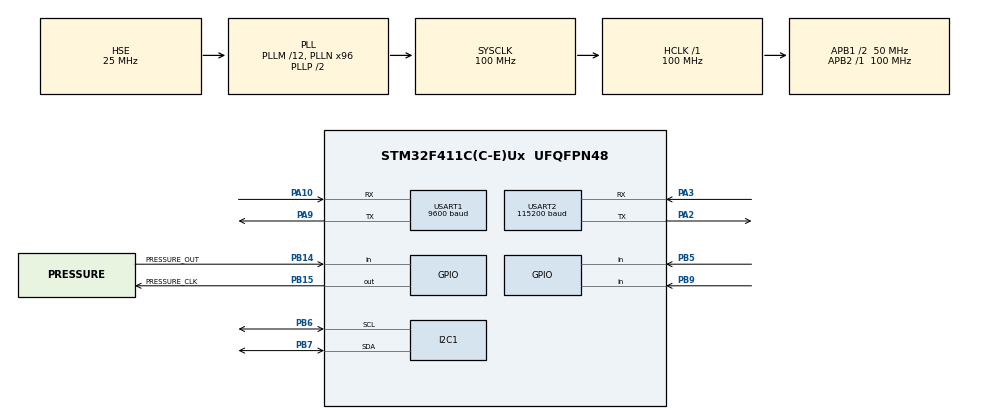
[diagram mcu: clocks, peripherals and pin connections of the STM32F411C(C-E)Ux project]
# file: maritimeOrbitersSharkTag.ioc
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I2C1.I2C_Mode=I2C_Fast
Mcu.Family=STM32F4
Mcu.Name=STM32F411C(C-E)Ux
Mcu.Package=UFQFPN48
NVIC.PriorityGroup=NVIC_PRIORITYGROUP_4
NVIC.USART1_IRQn=true\:0\:0\:false\:false\:true\:true\:true\:true
NVIC.USART2_IRQn=true\:0\:0\:false\:false\:true\:true\:true\:true
PA10.Mode=Asynchronous
PA10.Signal=USART1_RX
PA2.Mode=Asynchronous
PA2.Signal=USART2_TX
PA3.Mode=Asynchronous
PA3.Signal=USART2_RX
PA9.Mode=Asynchronous
PA9.Signal=USART1_TX
PB14.GPIO_Label=PRESSURE_OUT
PB14.Signal=GPIO_Input
PB15.GPIO_Label=PRESSURE_CLK
PB15.Signal=GPIO_Output
PB5.Signal=GPIO_Input
PB6.Mode=I2C
PB6.Signal=I2C1_SCL
PB7.Mode=I2C
PB7.Signal=I2C1_SDA
PB9.GPIO_PuPd=GPIO_PULLUP
PB9.Signal=GPIO_Input
PH0\ -\ OSC_IN.Mode=HSE-External-Oscillator
PH0\ -\ OSC_IN.Signal=RCC_OSC_IN
PH1\ -\ OSC_OUT.Mode=HSE-External-Oscillator
PH1\ -\ OSC_OUT.Signal=RCC_OSC_OUT
ProjectManager.HeapSize=0x800
ProjectManager.StackSize=0x800
ProjectManager.TargetToolchain=STM32CubeIDE
RCC.48MHZClocksFreq_Value=50000000
RCC.AHBFreq_Value=100000000
RCC.APB1CLKDivider=RCC_HCLK_DIV2
RCC.APB1Freq_Value=50000000
RCC.APB1TimFreq_Value=100000000
RCC.APB2Freq_Value=100000000
RCC.APB2TimFreq_Value=100000000
RCC.CortexFreq_Value=100000000
RCC.HCLKFreq_Value=100000000
RCC.HSE_VALUE=25000000
RCC.HSI_VALUE=16000000
RCC.LSE_VALUE=32768
RCC.PLLM=12
RCC.PLLN=96
RCC.PLLSourceVirtual=RCC_PLLSOURCE_HSE
RCC.SYSCLKFreq_VALUE=100000000
RCC.SYSCLKSource=RCC_SYSCLKSOURCE_PLLCLK
RCC.VCOOutputFreq_Value=200000000
STMicroelectronics.X-CUBE-AI.10.1.0.HeapSize=0x800
STMicroelectronics.X-CUBE-AI.10.1.0.ModelActualCompression-4481c84f3229c3ce8bc56b6763ea395dbdbbe3bd86c1d7961588b692ccb25df8=0.0
STMicroelectronics.X-CUBE-AI.10.1.0.ModelCompression-4481c84f3229c3ce8bc56b6763ea395dbdbbe3bd86c1d7961588b692ccb25df8=None
STMicroelectronics.X-CUBE-AI.10.1.0.ModelFlashOccupation-4481c84f3229c3ce8bc56b6763ea395dbdbbe3bd86c1d7961588b692ccb25df8=0
STMicroelectronics.X-CUBE-AI.10.1.0.ModelHashList=4481c84f3229c3ce8bc56b6763ea395dbdbbe3bd86c1d7961588b692ccb25df8
STMicroelectronics.X-CUBE-AI.10.1.0.ModelKind-4481c84f3229c3ce8bc56b6763ea395dbdbbe3bd86c1d7961588b692ccb25df8=KERAS
STMicroelectronics.X-CUBE-AI.10.1.0.ModelMacc-4481c84f3229c3ce8bc56b6763ea395dbdbbe3bd86c1d7961588b692ccb25df8=0
STMicroelectronics.X-CUBE-AI.10.1.0.ModelName-4481c84f3229c3ce8bc56b6763ea395dbdbbe3bd86c1d7961588b692ccb25df8=is_shark_eating
STMicroelectronics.X-CUBE-AI.10.1.0.ModelNameList=is_shark_eating
STMicroelectronics.X-CUBE-AI.10.1.0.ModelRamOccupation-4481c84f3229c3ce8bc56b6763ea395dbdbbe3bd86c1d7961588b692ccb25df8=0
STMicroelectronics.X-CUBE-AI.10.1.0.ModelType-4481c84f3229c3ce8bc56b6763ea395dbdbbe3bd86c1d7961588b692ccb25df8=STM32Cube.AI MCU runtime
STMicroelectronics.X-CUBE-AI.10.1.0.ReadyForCodeGeneration=false
STMicroelectronics.X-CUBE-AI.10.1.0.StackSize=0x800
STMicroelectronics.X-CUBE-AI.10.1.0.WorkingBufferStartAddrList=0xFFFFFFFF
STMicroelectronics.X-CUBE-AI.10.1.0.copyWeightToRam-4481c84f3229c3ce8bc56b6763ea395dbdbbe3bd86c1d7961588b692ccb25df8=false
STMicroelectronics.X-CUBE-AI.10.1.0.customLayerConfigEnabled-4481c84f3229c3ce8bc56b6763ea395dbdbbe3bd86c1d7961588b692ccb25df8=false
STMicroelectronics.X-CUBE-AI.10.1.0.noOnnxIoTranspose-4481c84f3229c3ce8bc56b6763ea395dbdbbe3bd86c1d7961588b692ccb25df8=false
STMicroelectronics.X-CUBE-AI.10.1.0.useInputAllocation-4481c84f3229c3ce8bc56b6763ea395dbdbbe3bd86c1d7961588b692ccb25df8=true
STMicroelectronics.X-CUBE-AI.10.1.0.useOutputAllocation-4481c84f3229c3ce8bc56b6763ea395dbdbbe3bd86c1d7961588b692ccb25df8=true
TIM10.Period=0xffff-1
TIM10.Prescaler=100-1
USART1.BaudRate=9600
USART1.VirtualMode=VM_ASYNC
USART2.BaudRate=115200
USART2.VirtualMode=VM_ASYNC
VP_TIM10_VS_ClockSourceINT.Mode=Enable_Timer
board=custom

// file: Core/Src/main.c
/* USER CODE BEGIN Header */
/**
  ******************************************************************************
  * @file           : main.c
  * @brief          : Main program body
  ******************************************************************************
  * @attention
  *
  * Copyright (c) 2025 STMicroelectronics.
  * All rights reserved.
  *
  * This software is licensed under terms that can be found in the LICENSE file
  * in the root directory of this software component.
  * If no LICENSE file comes with this software, it is provided AS-IS.
  *
  ******************************************************************************
  */
/* USER CODE END Header */
#include "main.h"
#include "i2c.h"
#include "tim.h"
#include "usart.h"
#include "gpio.h"

/* USER CODE BEGIN PV */
SIM800_t SIM800;
HX710B_Cfg HX710B = {.dout_pin = PRESSURE_OUT_Pin, .dout_port = PRESSURE_OUT_GPIO_Port,
					.sck_pin = PRESSURE_CLK_Pin, .sck_port = PRESSURE_CLK_GPIO_Port};
float temp_value = 0;
float depth;
/* USER CODE END PV */

void SystemClock_Config(void);

/* USER CODE BEGIN 0 */
int _close(int file) { return -1; }
int _fstat(int file, void *st) { return 0; }
int _isatty(int file) { return 1; }
int _lseek(int file, int ptr, int dir) { return 0; }
int _read(int file, char *ptr, int len) { return 0; }
int _kill(int pid, int sig) { return -1; }
int _getpid(void) { return 1; }

int _write(int file, uint8_t* p, int len)
{
	if(HAL_UART_Transmit(&huart2, p, len, len) == HAL_OK )
	{
		return len;
	}
	return 0;
}
void HAL_UART_RxCpltCallback(UART_HandleTypeDef *huart)
{
    if (huart == UART_SIM800) {
        Sim800_RxCallBack();
    }
	if(huart == &huart1) {
		GPS_UART_CallBack();
	}
}

/* USER CODE END 0 */

int main(void)
{

  /* MCU Configuration--------------------------------------------------------*/

  /* Reset of all peripherals, Initializes the Flash interface and the Systick. */
  HAL_Init();

  /* USER CODE BEGIN Init */
  SIM800.sim.apn = APN;								// For WE Egypt apn is "internet"
  SIM800.sim.apn_user = APN_KEY;
  SIM800.sim.apn_pass = APN_PASS;
  SIM800.mqttServer.host = MQTT_HOST;
  SIM800.mqttServer.port = MQTT_PORT;
  SIM800.mqttClient.username = MQTT_USERNAME;
  SIM800.mqttClient.pass = MQTT_PASS;
  SIM800.mqttClient.clientID = MQTT_CLIENT_ID;
  SIM800.mqttClient.keepAliveInterval = MQTT_KEEP_ALIVE;
  MQTT_Init();
  /* USER CODE END Init */

  /* Configure the system clock */
  SystemClock_Config();

  /* Initialize all configured peripherals */
  MX_GPIO_Init();
  MX_USART2_UART_Init();
  MX_TIM10_Init();
  MX_I2C1_Init();
  MX_USART1_UART_Init();
  /* USER CODE BEGIN 2 */
  HX710B_Init(&HX710B);
  HX710B_CalibrateZero(&HX710B);
  HX710B_SetScale(&HX710B, 26000.0f);
  HAL_TIM_Base_Start(&htim10);
  DS18B20_Init(GPIOB, GPIO_PIN_9, &htim10);
  MPU6050_Initialization();
  GPS_Init();
  HAL_Delay(1000);
  /* USER CODE END 2 */

  /* Infinite loop */
  /* USER CODE BEGIN WHILE */
  char buf[128];
  int len = 0;
  while (1)
  {
	    // int32_t raw = HX710B_ReadRaw(&HX710B);
	    // float pressure = HX710B_ReadPressure(&HX710B);
	    // Read depth
	    depth = HX710B_ReadDepth(&HX710B);
	    depth = (depth <= 0) ? 0 : depth;
	    len = snprintf(buf, sizeof(buf), "%.2f", depth);  // depth first, no trailing comma yet

	    // Read temperature
	    temp_value = DS18B20_ReadTemp();
	    temp_value = (temp_value <= -100) ? 0 : temp_value;
	    len += snprintf(buf + len, sizeof(buf) - len, ",%.2f", temp_value);  // append temp

	    // Read MPU6050 if ready
	    //if (MPU6050_DataReady() == 1)
	    //{
	        MPU6050_ProcessData(&MPU6050);
	        len += snprintf(buf + len, sizeof(buf) - len, ",%.2f,%.2f,%.2f",
	                        MPU6050.acc_x, MPU6050.acc_y, MPU6050.acc_z);
	    //}
	        //if (GPS.lock) // GPS has fix
		    //{
	        	len += snprintf(buf + len, sizeof(buf) - len, ",%.6f,%.6f",
	        			GPS.dec_latitude, GPS.dec_longitude);
		    //}

		if(0 == SIM800.mqttServer.connect)
		{
	    	MQTT_Init();
			HAL_Delay(1000);
		}
		if(1 == SIM800.mqttServer.connect)
		{
			MQTT_Pub("abdelrhmanatta/feeds/shark", buf);
			HAL_Delay(5000);
		}
    /* USER CODE END WHILE */

  }
}

void SystemClock_Config(void)
{
  RCC_OscInitTypeDef RCC_OscInitStruct = {0};
  RCC_ClkInitTypeDef RCC_ClkInitStruct = {0};

  /** Configure the main internal regulator output voltage
  */
  __HAL_RCC_PWR_CLK_ENABLE();
  __HAL_PWR_VOLTAGESCALING_CONFIG(PWR_REGULATOR_VOLTAGE_SCALE1);

  /** Initializes the RCC Oscillators according to the specified parameters
  * in the RCC_OscInitTypeDef structure.
  */
  RCC_OscInitStruct.OscillatorType = RCC_OSCILLATORTYPE_HSE;
  RCC_OscInitStruct.HSEState = RCC_HSE_ON;
  RCC_OscInitStruct.PLL.PLLState = RCC_PLL_ON;
  RCC_OscInitStruct.PLL.PLLSource = RCC_PLLSOURCE_HSE;
  RCC_OscInitStruct.PLL.PLLM = 12;
  RCC_OscInitStruct.PLL.PLLN = 96;
  RCC_OscInitStruct.PLL.PLLP = RCC_PLLP_DIV2;
  RCC_OscInitStruct.PLL.PLLQ = 4;
  if (HAL_RCC_OscConfig(&RCC_OscInitStruct) != HAL_OK)
  {
    Error_Handler();
  }

  /** Initializes the CPU, AHB and APB buses clocks
  */
  RCC_ClkInitStruct.ClockType = RCC_CLOCKTYPE_HCLK|RCC_CLOCKTYPE_SYSCLK
                              |RCC_CLOCKTYPE_PCLK1|RCC_CLOCKTYPE_PCLK2;
  RCC_ClkInitStruct.SYSCLKSource = RCC_SYSCLKSOURCE_PLLCLK;
  RCC_ClkInitStruct.AHBCLKDivider = RCC_SYSCLK_DIV1;
  RCC_ClkInitStruct.APB1CLKDivider = RCC_HCLK_DIV2;
  RCC_ClkInitStruct.APB2CLKDivider = RCC_HCLK_DIV1;

  if (HAL_RCC_ClockConfig(&RCC_ClkInitStruct, FLASH_LATENCY_3) != HAL_OK)
  {
    Error_Handler();
  }
}

void Error_Handler(void)
{
  __disable_irq();
  while (1)
  {
  }
}
